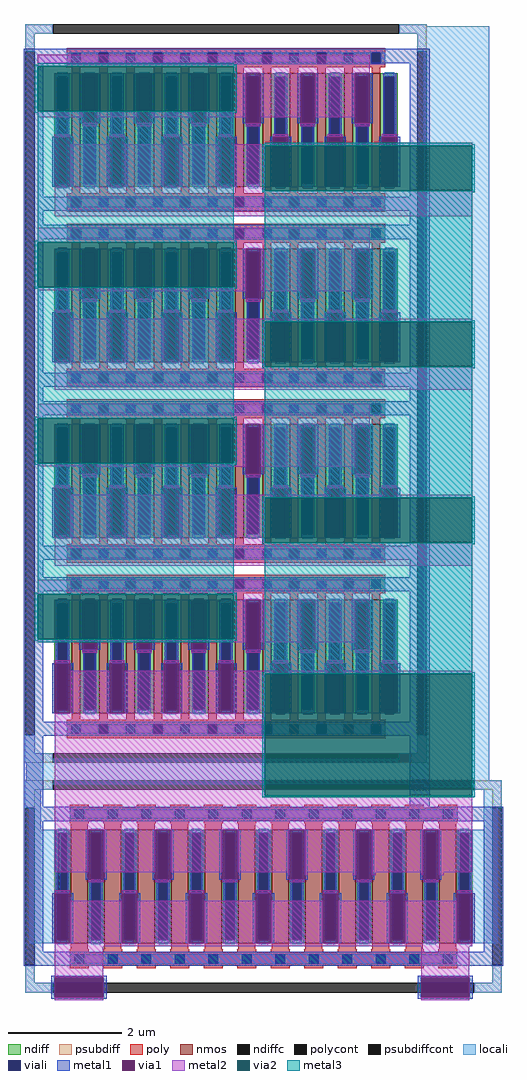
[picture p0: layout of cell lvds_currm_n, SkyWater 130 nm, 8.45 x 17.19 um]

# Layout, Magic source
magic
tech sky130A
magscale 1 2
<< poly >>
rect 32 2746 1154 2762
rect 32 2712 144 2746
rect 178 2712 336 2746
rect 370 2712 528 2746
rect 562 2712 720 2746
rect 754 2712 912 2746
rect 946 2712 1104 2746
rect 1138 2712 1154 2746
rect 32 2696 1154 2712
rect 32 2236 1154 2252
rect 32 2202 48 2236
rect 82 2202 240 2236
rect 274 2202 432 2236
rect 466 2202 624 2236
rect 658 2202 816 2236
rect 850 2202 1008 2236
rect 1042 2202 1154 2236
rect 32 2186 1154 2202
rect 32 2128 1154 2144
rect 32 2094 48 2128
rect 82 2094 240 2128
rect 274 2094 432 2128
rect 466 2094 624 2128
rect 658 2094 816 2128
rect 850 2094 1008 2128
rect 1042 2094 1154 2128
rect 32 2078 1154 2094
rect 32 1618 1154 1634
rect 32 1584 144 1618
rect 178 1584 336 1618
rect 370 1584 528 1618
rect 562 1584 720 1618
rect 754 1584 912 1618
rect 946 1584 1104 1618
rect 1138 1584 1154 1618
rect 32 1568 1154 1584
rect 32 1510 1154 1526
rect 32 1476 144 1510
rect 178 1476 336 1510
rect 370 1476 528 1510
rect 562 1476 720 1510
rect 754 1476 912 1510
rect 946 1476 1104 1510
rect 1138 1476 1154 1510
rect 32 1460 1154 1476
rect 32 1000 1154 1016
rect 32 966 48 1000
rect 82 966 240 1000
rect 274 966 432 1000
rect 466 966 624 1000
rect 658 966 816 1000
rect 850 966 1008 1000
rect 1042 966 1154 1000
rect 32 950 1154 966
rect 32 892 1154 908
rect 32 858 48 892
rect 82 858 240 892
rect 274 858 432 892
rect 466 858 624 892
rect 658 858 816 892
rect 850 858 1008 892
rect 1042 858 1154 892
rect 32 842 1154 858
rect 32 382 1154 398
rect 32 348 144 382
rect 178 348 336 382
rect 370 348 528 382
rect 562 348 720 382
rect 754 348 912 382
rect 946 348 1104 382
rect 1138 348 1154 382
rect 32 332 1154 348
rect 42 42 1410 88
rect 42 -468 1408 -422
<< polycont >>
rect 144 2712 178 2746
rect 336 2712 370 2746
rect 528 2712 562 2746
rect 720 2712 754 2746
rect 912 2712 946 2746
rect 1104 2712 1138 2746
rect 48 2202 82 2236
rect 240 2202 274 2236
rect 432 2202 466 2236
rect 624 2202 658 2236
rect 816 2202 850 2236
rect 1008 2202 1042 2236
rect 48 2094 82 2128
rect 240 2094 274 2128
rect 432 2094 466 2128
rect 624 2094 658 2128
rect 816 2094 850 2128
rect 1008 2094 1042 2128
rect 144 1584 178 1618
rect 336 1584 370 1618
rect 528 1584 562 1618
rect 720 1584 754 1618
rect 912 1584 946 1618
rect 1104 1584 1138 1618
rect 144 1476 178 1510
rect 336 1476 370 1510
rect 528 1476 562 1510
rect 720 1476 754 1510
rect 912 1476 946 1510
rect 1104 1476 1138 1510
rect 48 966 82 1000
rect 240 966 274 1000
rect 432 966 466 1000
rect 624 966 658 1000
rect 816 966 850 1000
rect 1008 966 1042 1000
rect 48 858 82 892
rect 240 858 274 892
rect 432 858 466 892
rect 624 858 658 892
rect 816 858 850 892
rect 1008 858 1042 892
rect 144 348 178 382
rect 336 348 370 382
rect 528 348 562 382
rect 720 348 754 382
rect 912 348 946 382
rect 1104 348 1138 382
<< locali >>
rect 32 2712 144 2746
rect 178 2712 336 2746
rect 370 2712 528 2746
rect 562 2712 720 2746
rect 754 2712 912 2746
rect 946 2712 1104 2746
rect 1138 2712 1154 2746
rect 32 2202 48 2236
rect 82 2202 240 2236
rect 274 2202 432 2236
rect 466 2202 624 2236
rect 658 2202 816 2236
rect 850 2202 1008 2236
rect 1042 2202 1154 2236
rect 32 2094 48 2128
rect 82 2094 240 2128
rect 274 2094 432 2128
rect 466 2094 624 2128
rect 658 2094 816 2128
rect 850 2094 1008 2128
rect 1042 2094 1154 2128
rect 32 1584 144 1618
rect 178 1584 336 1618
rect 370 1584 528 1618
rect 562 1584 720 1618
rect 754 1584 912 1618
rect 946 1584 1104 1618
rect 1138 1584 1154 1618
rect 32 1476 144 1510
rect 178 1476 336 1510
rect 370 1476 528 1510
rect 562 1476 720 1510
rect 754 1476 912 1510
rect 946 1476 1104 1510
rect 1138 1476 1154 1510
rect 32 966 48 1000
rect 82 966 240 1000
rect 274 966 432 1000
rect 466 966 624 1000
rect 658 966 816 1000
rect 850 966 1008 1000
rect 1042 966 1154 1000
rect 32 858 48 892
rect 82 858 240 892
rect 274 858 432 892
rect 466 858 624 892
rect 658 858 816 892
rect 850 858 1008 892
rect 1042 858 1154 892
rect 32 348 144 382
rect 178 348 336 382
rect 370 348 528 382
rect 562 348 720 382
rect 754 348 912 382
rect 946 348 1104 382
rect 1138 348 1154 382
rect 1290 260 1520 2840
rect -110 170 1520 260
rect -100 10 -60 170
rect 1290 160 1520 170
rect 42 48 1408 82
rect 1500 10 1550 160
rect -100 -390 10 10
rect 1450 -390 1550 10
rect 42 -462 1408 -428
<< viali >>
rect 144 2712 178 2746
rect 336 2712 370 2746
rect 528 2712 562 2746
rect 720 2712 754 2746
rect 912 2712 946 2746
rect 1104 2712 1138 2746
rect 48 2202 82 2236
rect 240 2202 274 2236
rect 432 2202 466 2236
rect 624 2202 658 2236
rect 816 2202 850 2236
rect 1008 2202 1042 2236
rect 48 2094 82 2128
rect 240 2094 274 2128
rect 432 2094 466 2128
rect 624 2094 658 2128
rect 816 2094 850 2128
rect 1008 2094 1042 2128
rect 144 1584 178 1618
rect 336 1584 370 1618
rect 528 1584 562 1618
rect 720 1584 754 1618
rect 912 1584 946 1618
rect 1104 1584 1138 1618
rect 144 1476 178 1510
rect 336 1476 370 1510
rect 528 1476 562 1510
rect 720 1476 754 1510
rect 912 1476 946 1510
rect 1104 1476 1138 1510
rect 48 966 82 1000
rect 240 966 274 1000
rect 432 966 466 1000
rect 624 966 658 1000
rect 816 966 850 1000
rect 1008 966 1042 1000
rect 48 858 82 892
rect 240 858 274 892
rect 432 858 466 892
rect 624 858 658 892
rect 816 858 850 892
rect 1008 858 1042 892
rect 144 348 178 382
rect 336 348 370 382
rect 528 348 562 382
rect 720 348 754 382
rect 912 348 946 382
rect 1104 348 1138 382
rect -10 -580 160 -510
rect 1280 -580 1450 -510
<< metal1 >>
rect -120 2746 1310 2760
rect -120 2712 144 2746
rect 178 2712 336 2746
rect 370 2712 528 2746
rect 562 2712 720 2746
rect 754 2712 912 2746
rect 946 2712 1104 2746
rect 1138 2712 1310 2746
rect -120 2710 1310 2712
rect -120 2240 -50 2710
rect 32 2706 1154 2710
rect 76 2498 86 2674
rect 140 2498 150 2674
rect 268 2498 278 2674
rect 332 2498 342 2674
rect 460 2498 470 2674
rect 524 2498 534 2674
rect 652 2498 662 2674
rect 716 2498 726 2674
rect 844 2498 854 2674
rect 908 2498 918 2674
rect 1036 2498 1046 2674
rect 1100 2498 1110 2674
rect -20 2274 -10 2450
rect 44 2274 54 2450
rect 172 2274 182 2450
rect 236 2274 246 2450
rect 364 2274 374 2450
rect 428 2274 438 2450
rect 556 2274 566 2450
rect 620 2274 630 2450
rect 748 2274 758 2450
rect 812 2274 822 2450
rect 940 2274 950 2450
rect 1004 2274 1014 2450
rect 1132 2274 1142 2450
rect 1196 2274 1206 2450
rect 32 2240 1154 2242
rect 1240 2240 1310 2710
rect -120 2236 1310 2240
rect -120 2202 48 2236
rect 82 2202 240 2236
rect 274 2202 432 2236
rect 466 2202 624 2236
rect 658 2202 816 2236
rect 850 2202 1008 2236
rect 1042 2202 1310 2236
rect -120 2190 1310 2202
rect -120 2140 -50 2190
rect 1240 2140 1310 2190
rect -120 2128 1310 2140
rect -120 2094 48 2128
rect 82 2094 240 2128
rect 274 2094 432 2128
rect 466 2094 624 2128
rect 658 2094 816 2128
rect 850 2094 1008 2128
rect 1042 2094 1310 2128
rect -120 2090 1310 2094
rect -120 1620 -50 2090
rect 32 2088 1154 2090
rect 76 1880 86 2056
rect 140 1880 150 2056
rect 268 1880 278 2056
rect 332 1880 342 2056
rect 460 1880 470 2056
rect 524 1880 534 2056
rect 652 1880 662 2056
rect 716 1880 726 2056
rect 844 1880 854 2056
rect 908 1880 918 2056
rect 1036 1880 1046 2056
rect 1100 1880 1110 2056
rect -20 1656 -10 1832
rect 44 1656 54 1832
rect 172 1656 182 1832
rect 236 1656 246 1832
rect 364 1656 374 1832
rect 428 1656 438 1832
rect 556 1656 566 1832
rect 620 1656 630 1832
rect 748 1656 758 1832
rect 812 1656 822 1832
rect 940 1656 950 1832
rect 1004 1656 1014 1832
rect 1132 1656 1142 1832
rect 1196 1656 1206 1832
rect 32 1620 1154 1624
rect 1240 1620 1310 2090
rect -120 1618 1310 1620
rect -120 1584 144 1618
rect 178 1584 336 1618
rect 370 1584 528 1618
rect 562 1584 720 1618
rect 754 1584 912 1618
rect 946 1584 1104 1618
rect 1138 1584 1310 1618
rect -120 1570 1310 1584
rect -120 1520 -50 1570
rect 1240 1520 1310 1570
rect -120 1510 1310 1520
rect -120 1476 144 1510
rect 178 1476 336 1510
rect 370 1476 528 1510
rect 562 1476 720 1510
rect 754 1476 912 1510
rect 946 1476 1104 1510
rect 1138 1476 1310 1510
rect -120 1470 1310 1476
rect -120 1010 -50 1470
rect 76 1262 86 1438
rect 140 1262 150 1438
rect 268 1262 278 1438
rect 332 1262 342 1438
rect 460 1262 470 1438
rect 524 1262 534 1438
rect 652 1262 662 1438
rect 716 1262 726 1438
rect 844 1262 854 1438
rect 908 1262 918 1438
rect 1036 1262 1046 1438
rect 1100 1262 1110 1438
rect -20 1038 -10 1214
rect 44 1038 54 1214
rect 172 1038 182 1214
rect 236 1038 246 1214
rect 364 1038 374 1214
rect 428 1038 438 1214
rect 556 1038 566 1214
rect 620 1038 630 1214
rect 748 1038 758 1214
rect 812 1038 822 1214
rect 940 1038 950 1214
rect 1004 1038 1014 1214
rect 1132 1038 1142 1214
rect 1196 1038 1206 1214
rect 1240 1010 1310 1470
rect -120 1000 1310 1010
rect -120 966 48 1000
rect 82 966 240 1000
rect 274 966 432 1000
rect 466 966 624 1000
rect 658 966 816 1000
rect 850 966 1008 1000
rect 1042 966 1310 1000
rect -120 960 1310 966
rect -120 900 -50 960
rect 1240 900 1310 960
rect -120 892 1310 900
rect -120 858 48 892
rect 82 858 240 892
rect 274 858 432 892
rect 466 858 624 892
rect 658 858 816 892
rect 850 858 1008 892
rect 1042 858 1310 892
rect -120 850 1310 858
rect -120 390 -50 850
rect 76 644 86 820
rect 140 644 150 820
rect 268 644 278 820
rect 332 644 342 820
rect 460 644 470 820
rect 524 644 534 820
rect 652 644 662 820
rect 716 644 726 820
rect 844 644 854 820
rect 908 644 918 820
rect 1036 644 1046 820
rect 1100 644 1110 820
rect -20 420 -10 596
rect 44 420 54 596
rect 172 420 182 596
rect 236 420 246 596
rect 364 420 374 596
rect 428 420 438 596
rect 556 420 566 596
rect 620 420 630 596
rect 748 420 758 596
rect 812 420 822 596
rect 940 420 950 596
rect 1004 420 1014 596
rect 1132 420 1142 596
rect 1196 420 1206 596
rect 1240 390 1310 850
rect -120 382 1310 390
rect -120 348 144 382
rect 178 348 336 382
rect 370 348 528 382
rect 562 348 720 382
rect 754 348 912 382
rect 946 348 1104 382
rect 1138 348 1310 382
rect -120 340 1310 348
rect -120 90 -50 340
rect 1240 90 1310 340
rect -120 40 1570 90
rect -120 -420 -50 40
rect 98 -166 108 10
rect 162 -166 172 10
rect 334 -166 344 10
rect 398 -166 408 10
rect 570 -166 580 10
rect 634 -166 644 10
rect 806 -166 816 10
rect 870 -166 880 10
rect 1042 -166 1052 10
rect 1106 -166 1116 10
rect 1278 -166 1288 10
rect 1342 -166 1352 10
rect -20 -390 -10 -214
rect 44 -390 54 -214
rect 216 -390 226 -214
rect 280 -390 290 -214
rect 452 -390 462 -214
rect 516 -390 526 -214
rect 688 -390 698 -214
rect 752 -390 762 -214
rect 924 -390 934 -214
rect 988 -390 998 -214
rect 1160 -390 1170 -214
rect 1224 -390 1234 -214
rect 1396 -390 1406 -214
rect 1460 -390 1470 -214
rect 1500 -420 1570 40
rect -120 -470 1570 -420
rect -22 -510 172 -504
rect -22 -580 -10 -510
rect 160 -580 172 -510
rect -22 -586 172 -580
rect 1268 -510 1462 -504
rect 1268 -580 1280 -510
rect 1450 -580 1462 -510
rect 1268 -586 1462 -580
<< via1 >>
rect 86 2498 140 2674
rect 278 2498 332 2674
rect 470 2498 524 2674
rect 662 2498 716 2674
rect 854 2498 908 2674
rect 1046 2498 1100 2674
rect -10 2274 44 2450
rect 182 2274 236 2450
rect 374 2274 428 2450
rect 566 2274 620 2450
rect 758 2274 812 2450
rect 950 2274 1004 2450
rect 1142 2274 1196 2450
rect 86 1880 140 2056
rect 278 1880 332 2056
rect 470 1880 524 2056
rect 662 1880 716 2056
rect 854 1880 908 2056
rect 1046 1880 1100 2056
rect -10 1656 44 1832
rect 182 1656 236 1832
rect 374 1656 428 1832
rect 566 1656 620 1832
rect 758 1656 812 1832
rect 950 1656 1004 1832
rect 1142 1656 1196 1832
rect 86 1262 140 1438
rect 278 1262 332 1438
rect 470 1262 524 1438
rect 662 1262 716 1438
rect 854 1262 908 1438
rect 1046 1262 1100 1438
rect -10 1038 44 1214
rect 182 1038 236 1214
rect 374 1038 428 1214
rect 566 1038 620 1214
rect 758 1038 812 1214
rect 950 1038 1004 1214
rect 1142 1038 1196 1214
rect 86 644 140 820
rect 278 644 332 820
rect 470 644 524 820
rect 662 644 716 820
rect 854 644 908 820
rect 1046 644 1100 820
rect -10 420 44 596
rect 182 420 236 596
rect 374 420 428 596
rect 566 420 620 596
rect 758 420 812 596
rect 950 420 1004 596
rect 1142 420 1196 596
rect 108 -166 162 10
rect 344 -166 398 10
rect 580 -166 634 10
rect 816 -166 870 10
rect 1052 -166 1106 10
rect 1288 -166 1342 10
rect -10 -390 44 -214
rect 226 -390 280 -214
rect 462 -390 516 -214
rect 698 -390 752 -214
rect 934 -390 988 -214
rect 1170 -390 1224 -214
rect 1406 -390 1460 -214
rect -10 -580 160 -510
rect 1280 -580 1450 -510
<< metal2 >>
rect -70 2700 1100 2740
rect 620 2674 1100 2700
rect 620 2540 662 2674
rect -70 2520 86 2540
rect 140 2520 278 2540
rect 86 2488 140 2498
rect 332 2520 470 2540
rect 278 2488 332 2498
rect 524 2520 662 2540
rect 470 2488 524 2498
rect 716 2520 854 2674
rect 662 2488 716 2498
rect 908 2520 1046 2674
rect 854 2488 908 2498
rect 1046 2488 1100 2498
rect -10 2450 44 2460
rect 182 2450 236 2460
rect 44 2274 182 2424
rect 374 2450 428 2460
rect 236 2274 374 2424
rect 566 2450 620 2460
rect 428 2274 566 2424
rect 758 2450 812 2460
rect 730 2424 758 2430
rect 620 2420 758 2424
rect 950 2450 1004 2460
rect 812 2420 950 2430
rect 1142 2450 1196 2460
rect 1004 2420 1142 2430
rect 1196 2420 1460 2430
rect 620 2274 730 2420
rect -10 2260 730 2274
rect -10 2170 1460 2260
rect -70 2080 1100 2130
rect 620 2056 1100 2080
rect 620 1920 662 2056
rect -70 1910 86 1920
rect 140 1906 278 1920
rect 86 1870 140 1880
rect 332 1906 470 1920
rect 278 1870 332 1880
rect 524 1906 662 1920
rect 470 1870 524 1880
rect 716 1906 854 2056
rect 662 1870 716 1880
rect 908 1906 1046 2056
rect 854 1870 908 1880
rect 1046 1870 1100 1880
rect -10 1832 44 1842
rect 182 1832 236 1842
rect 44 1656 182 1810
rect 374 1832 428 1842
rect 236 1656 374 1810
rect 566 1832 620 1842
rect 428 1656 566 1810
rect 758 1832 812 1842
rect 620 1800 758 1810
rect 950 1832 1004 1842
rect 812 1800 950 1810
rect 1142 1832 1196 1842
rect 1004 1800 1142 1810
rect 1196 1800 1460 1810
rect 620 1656 730 1800
rect -10 1640 730 1656
rect -10 1560 1460 1640
rect -70 1460 1100 1510
rect 620 1438 1100 1460
rect 620 1300 662 1438
rect -70 1290 86 1300
rect 140 1288 278 1300
rect 86 1252 140 1262
rect 332 1288 470 1300
rect 278 1252 332 1262
rect 524 1288 662 1300
rect 470 1252 524 1262
rect 716 1288 854 1438
rect 662 1252 716 1262
rect 908 1288 1046 1438
rect 854 1252 908 1262
rect 1046 1252 1100 1262
rect -10 1214 44 1224
rect 182 1214 236 1224
rect 44 1038 182 1190
rect 374 1214 428 1224
rect 236 1038 374 1190
rect 566 1214 620 1224
rect 428 1038 566 1190
rect 758 1214 812 1224
rect 620 1180 758 1190
rect 950 1214 1004 1224
rect 812 1180 950 1190
rect 1142 1214 1196 1224
rect 1004 1180 1142 1190
rect 1196 1180 1460 1190
rect 620 1038 730 1180
rect -10 1020 730 1038
rect -10 940 1460 1020
rect -70 840 1100 890
rect 620 820 1100 840
rect 620 680 662 820
rect -70 670 86 680
rect 140 670 278 680
rect 86 634 140 644
rect 332 670 470 680
rect 278 634 332 644
rect 524 670 662 680
rect 470 634 524 644
rect 716 670 854 820
rect 662 634 716 644
rect 908 670 1046 820
rect 854 634 908 644
rect 1046 634 1100 644
rect -10 596 44 606
rect 182 596 236 606
rect 44 420 182 570
rect 374 596 428 606
rect 236 420 374 570
rect 566 596 620 606
rect 428 420 566 570
rect 758 596 812 606
rect 620 560 758 570
rect 950 596 1004 606
rect 812 560 950 570
rect 1142 596 1196 606
rect 1004 560 1142 570
rect 1196 560 1460 570
rect 620 420 730 560
rect -10 130 730 420
rect -10 10 1460 130
rect -10 -140 108 10
rect 162 -140 344 10
rect 108 -176 162 -166
rect 398 -140 580 10
rect 344 -176 398 -166
rect 634 -140 816 10
rect 810 -150 816 -140
rect 580 -176 634 -166
rect 870 -140 1052 10
rect 870 -150 880 -140
rect 1040 -150 1052 -140
rect 816 -176 870 -166
rect 1106 -140 1288 10
rect 1106 -150 1120 -140
rect 1280 -150 1288 -140
rect 1052 -176 1106 -166
rect 1342 -140 1460 10
rect 1342 -150 1360 -140
rect 1288 -176 1342 -166
rect -10 -214 44 -204
rect 226 -214 280 -204
rect 44 -390 226 -240
rect 462 -214 516 -204
rect 280 -390 462 -240
rect 698 -214 752 -204
rect 516 -390 698 -240
rect 934 -214 988 -204
rect 752 -390 934 -240
rect 1170 -214 1224 -204
rect 988 -390 1170 -240
rect 1406 -214 1460 -204
rect 1224 -390 1406 -240
rect -10 -400 1460 -390
rect -10 -510 160 -400
rect -10 -590 160 -580
rect 1280 -510 1450 -400
rect 1280 -590 1450 -580
<< via2 >>
rect -70 2674 620 2700
rect -70 2540 86 2674
rect 86 2540 140 2674
rect 140 2540 278 2674
rect 278 2540 332 2674
rect 332 2540 470 2674
rect 470 2540 524 2674
rect 524 2540 620 2674
rect 730 2274 758 2420
rect 758 2274 812 2420
rect 812 2274 950 2420
rect 950 2274 1004 2420
rect 1004 2274 1142 2420
rect 1142 2274 1196 2420
rect 1196 2274 1460 2420
rect 730 2260 1460 2274
rect -70 2056 620 2080
rect -70 1920 86 2056
rect 86 1920 140 2056
rect 140 1920 278 2056
rect 278 1920 332 2056
rect 332 1920 470 2056
rect 470 1920 524 2056
rect 524 1920 620 2056
rect 730 1656 758 1800
rect 758 1656 812 1800
rect 812 1656 950 1800
rect 950 1656 1004 1800
rect 1004 1656 1142 1800
rect 1142 1656 1196 1800
rect 1196 1656 1460 1800
rect 730 1640 1460 1656
rect -70 1438 620 1460
rect -70 1300 86 1438
rect 86 1300 140 1438
rect 140 1300 278 1438
rect 278 1300 332 1438
rect 332 1300 470 1438
rect 470 1300 524 1438
rect 524 1300 620 1438
rect 730 1038 758 1180
rect 758 1038 812 1180
rect 812 1038 950 1180
rect 950 1038 1004 1180
rect 1004 1038 1142 1180
rect 1142 1038 1196 1180
rect 1196 1038 1460 1180
rect 730 1020 1460 1038
rect -70 820 620 840
rect -70 680 86 820
rect 86 680 140 820
rect 140 680 278 820
rect 278 680 332 820
rect 332 680 470 820
rect 470 680 524 820
rect 524 680 620 820
rect 730 420 758 560
rect 758 420 812 560
rect 812 420 950 560
rect 950 420 1004 560
rect 1004 420 1142 560
rect 1142 420 1196 560
rect 1196 420 1460 560
rect 730 130 1460 420
<< metal3 >>
rect -70 2705 620 2710
rect -80 2700 630 2705
rect -80 2540 -70 2700
rect 620 2540 630 2700
rect -80 2535 630 2540
rect -70 2085 620 2535
rect 730 2425 1460 2430
rect 720 2420 1470 2425
rect 720 2260 730 2420
rect 1460 2260 1470 2420
rect 720 2255 1470 2260
rect -80 2080 630 2085
rect -80 1920 -70 2080
rect 620 1920 630 2080
rect -80 1915 630 1920
rect -70 1465 620 1915
rect 730 1805 1460 2255
rect 720 1800 1470 1805
rect 720 1640 730 1800
rect 1460 1640 1470 1800
rect 720 1635 1470 1640
rect -80 1460 630 1465
rect -80 1300 -70 1460
rect 620 1300 630 1460
rect -80 1295 630 1300
rect -70 845 620 1295
rect 730 1185 1460 1635
rect 720 1180 1470 1185
rect 720 1020 730 1180
rect 1460 1020 1470 1180
rect 720 1015 1470 1020
rect -80 840 630 845
rect -80 680 -70 840
rect 620 680 630 840
rect -80 675 630 680
rect -70 670 620 675
rect 730 565 1460 1015
rect 720 560 1470 565
rect 720 130 730 560
rect 1460 130 1470 560
rect 720 125 1470 130
use sky130_fd_pr__nfet_01v8_HR8DH9  sky130_fd_pr__nfet_01v8_HR8DH9_0
transform 1 0 725 0 1 -190
box -875 -410 875 410
use sky130_fd_pr__nfet_01v8_XZXALN  sky130_fd_pr__nfet_01v8_XZXALN_0
transform 1 0 593 0 1 1547
box -743 -1337 743 1337
<< end >>

# cell sky130_fd_pr__nfet_01v8_HR8DH9: kit device sky130_fd_pr__nfet_01v8, w 2 l 0.3 m 1 nf 12 diffcov 100 polycov 100 guard 1 glc 1 grc 1 gtc 1 gbc 1 tbcov 100 rlcov 100 topc 1 botc 1 poverlap 0 doverlap 1 lmin 0.15 wmin 0.42 compatible {sky130_fd_pr__nfet_01v8 sky130_fd_pr__nfet_01v8_lvt sky130_fd_bs_flash__special_sonosfet_star sky130_fd_pr__nfet_g5v0d10v5 sky130_fd_pr__nfet_05v0_nvt sky130_fd_pr__nfet_03v3_nvt} full_metal 1 viasrc 100 viadrn 100 viagate 100 viagb 0 viagr 0 viagl 0 viagt 0

# cell sky130_fd_pr__nfet_01v8_XZXALN: kit device sky130_fd_pr__nfet_01v8, w 2 l 0.150 m 4 nf 12 diffcov 100 polycov 100 guard 1 glc 1 grc 1 gtc 1 gbc 1 tbcov 100 rlcov 100 topc 1 botc 1 poverlap 0 doverlap 1 lmin 0.15 wmin 0.42 compatible {sky130_fd_pr__nfet_01v8 sky130_fd_pr__nfet_01v8_lvt sky130_fd_bs_flash__special_sonosfet_star sky130_fd_pr__nfet_g5v0d10v5 sky130_fd_pr__nfet_05v0_nvt sky130_fd_pr__nfet_03v3_nvt} full_metal 1 viasrc 100 viadrn 100 viagate 100 viagb 0 viagr 0 viagl 0 viagt 0
